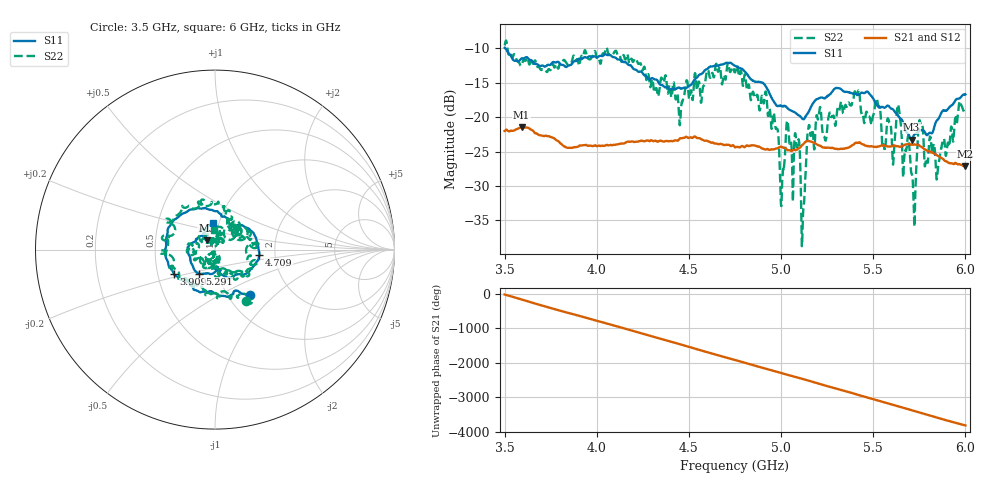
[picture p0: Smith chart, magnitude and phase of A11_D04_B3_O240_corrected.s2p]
! Created with skrf 1.9.0 (http://scikit-rf.org).
# Hz S RI R 50.0
!freq ReS11 ImS11 ReS21 ImS21 ReS12 ImS12 ReS22 ImS22
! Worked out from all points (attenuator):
!   1601 points, 3.5 GHz to 6 GHz, reference 50 ohm
!   highest |S21| = -21.47 dB at 3.592 GHz (marker M1); lowest = -27.2 dB at 6 GHz (marker M2)
!   lowest |S11| = -23.3 dB at 5.708 GHz (marker M3), VSWR 1.15, Z = 45.4 + j4.66 ohm
!   |S11| at or under -10 dB: 3.505 GHz to end of sweep
!   |S22| runs from -38.8 to -8.8 dB; largest |S21 - S12| = 0.001
!   S11 on the Smith chart (normalised r, x): 3.5 GHz: 1.26, -0.71; 3.909 GHz: 0.61, -0.18; 4.709 GHz: 1.65, -0.10; 5.291 GHz: 0.81, -0.23; 6 GHz: 0.94, +0.28
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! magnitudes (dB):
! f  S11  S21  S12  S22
! 3.5 GHz  -9.9  -22.0  -22.0  -9.6
! 3.592 GHz  -11.5  -21.5  -21.5  -12.4
! 3.909 GHz  -11.5  -24.1  -24.1  -11.9
! 3.917 GHz  -11.6  -24.1  -24.1  -11.1
! 4.334 GHz  -14.9  -23.5  -23.5  -16.9
! 4.709 GHz  -12.1  -24.0  -23.9  -12.3
! 4.75 GHz  -12.5  -24.4  -24.3  -13.5
! 4.969 GHz  -18.1  -24.6  -24.5  -21.3
! 5.005 GHz  -18.4  -24.3  -24.3  -30.4
! 5.034 GHz  -18.7  -24.8  -24.7  -20.5
! 5.088 GHz  -19.6  -24.7  -24.7  -24.3
! 5.119 GHz  -20.3  -24.0  -23.9  -34.3
! 5.145 GHz  -19.4  -23.4  -23.4  -21.9
! 5.167 GHz  -18.3  -23.6  -23.5  -22.0
! 5.291 GHz  -15.9  -24.6  -24.5  -20.7
! 5.584 GHz  -18.4  -24.3  -24.2  -20.4
! 5.639 GHz  -19.9  -24.3  -24.2  -18.7
! 5.708 GHz  -23.3  -24.0  -23.9  -28.2
! 5.725 GHz  -22.5  -24.0  -23.9  -34.9
! 5.756 GHz  -21.9  -24.2  -24.2  -20.9
! 5.85 GHz  -20.4  -25.6  -25.5  -27.7
! 6 GHz  -16.7  -27.2  -27.1  -19.4
